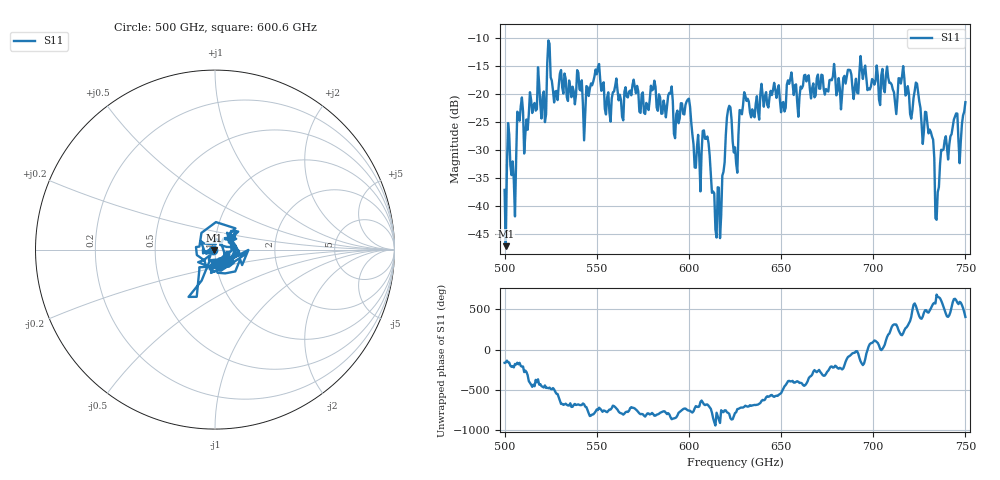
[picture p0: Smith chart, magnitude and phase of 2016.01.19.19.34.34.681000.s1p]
!Created with skrf (http://scikit-rf.org).
# GHz S RI R 50.0
!freq ReS11 ImS11
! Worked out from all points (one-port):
!   401 points, 500 GHz to 750 GHz, reference 50 ohm
!   lowest |S11| = -47.2 dB at 500.6 GHz (marker M1), VSWR 1.01, Z = 49.6 - j0.149 ohm
!   |S11| at or under -10 dB: start of sweep to end of sweep
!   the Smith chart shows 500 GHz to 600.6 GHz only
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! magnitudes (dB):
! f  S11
! 500 GHz  -37.1
! 500.6 GHz  -47.2
! 503.1 GHz  -32.8
! 505 GHz  -35.5
! 508.1 GHz  -24.8
! 521.2 GHz  -19.5
! 524.4 GHz  -11.0
! 527.5 GHz  -19.5
! 531.2 GHz  -18.8
! 550 GHz  -16.5
! 562.5 GHz  -20.1
! 580.6 GHz  -19.1
! 593.8 GHz  -22.9
! 599.4 GHz  -21.0
! 605 GHz  -27.3
! 609.4 GHz  -28.0
! 615.6 GHz  -36.7
! 621.2 GHz  -22.8
! 625 GHz  -29.5
! 630.6 GHz  -20.3
! 656.2 GHz  -18.1
! 687.5 GHz  -15.7
! 718.8 GHz  -18.6
! 729.4 GHz  -25.3
! 735 GHz  -37.5
! 738.1 GHz  -29.9
! 747.5 GHz  -28.5
! 750 GHz  -21.4
